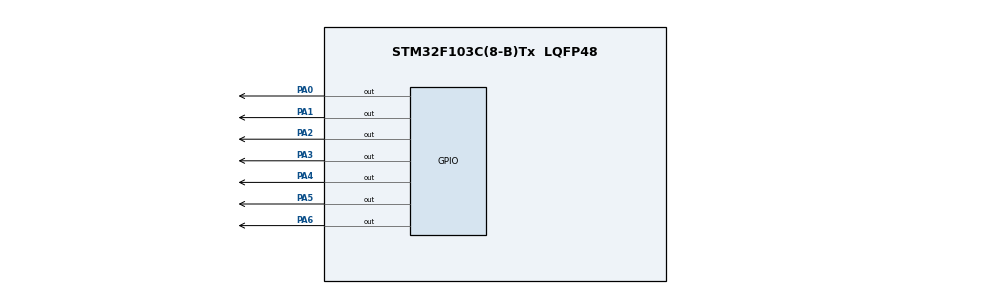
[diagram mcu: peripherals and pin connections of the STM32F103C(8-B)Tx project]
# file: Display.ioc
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Mcu.Family=STM32F1
Mcu.Name=STM32F103C(8-B)Tx
Mcu.Package=LQFP48
NVIC.PriorityGroup=NVIC_PRIORITYGROUP_4
PA0-WKUP.Signal=GPIO_Output
PA1.Signal=GPIO_Output
PA13.Mode=Serial_Wire
PA13.Signal=SYS_JTMS-SWDIO
PA14.Mode=Serial_Wire
PA14.Signal=SYS_JTCK-SWCLK
PA2.Signal=GPIO_Output
PA3.Signal=GPIO_Output
PA4.Signal=GPIO_Output
PA5.Signal=GPIO_Output
PA6.Signal=GPIO_Output
ProjectManager.HeapSize=0x200
ProjectManager.StackSize=0x400
ProjectManager.TargetToolchain=MDK-ARM V5.32
RCC.APB1Freq_Value=8000000
RCC.APB2Freq_Value=8000000
board=custom

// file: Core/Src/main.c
/* USER CODE BEGIN Header */
/**
  ******************************************************************************
  * @file           : main.c
  * @brief          : Main program body
  ******************************************************************************
  * @attention
  *
  * Copyright (c) 2024 STMicroelectronics.
  * All rights reserved.
  *
  * This software is licensed under terms that can be found in the LICENSE file
  * in the root directory of this software component.
  * If no LICENSE file comes with this software, it is provided AS-IS.
  *
  ******************************************************************************
  */
/* USER CODE END Header */
#include "main.h"

void SystemClock_Config(void);
static void MX_GPIO_Init(void);

/* USER CODE BEGIN 0 */
 void portb_yaz(int s){
	switch (s){
		case 0:
			GPIOA->ODR=0x3F;
		break;
		case 1:
			GPIOA->ODR=0x06;
		break;
		case 2:
			GPIOA->ODR=0x5B;
		break;
		case 3:
			GPIOA->ODR=0x4B;
		break;
		case 4:
			GPIOA->ODR=0x6C;
		break;
		case 5:
			GPIOA->ODR=0x6D;
		break;
		case 6:
			GPIOA->ODR=0x7D;
		break;
		case 7:
			GPIOA->ODR=0x07;
		break;
		case 8:
			GPIOA->ODR=0x7F;
		break;
		case 9:
			GPIOA->ODR=0x6F;
		break;

	}
}
/* USER CODE END 0 */

int main(void)
{

  /* MCU Configuration--------------------------------------------------------*/

  /* Reset of all peripherals, Initializes the Flash interface and the Systick. */
  HAL_Init();

  /* Configure the system clock */
  SystemClock_Config();

  /* Initialize all configured peripherals */
  MX_GPIO_Init();

  /* Infinite loop */
  /* USER CODE BEGIN WHILE */
  while (1)
  {
		portb_yaz(2);
		HAL_Delay(1000);

		portb_yaz(9);
		HAL_Delay(1000);
    /* USER CODE END WHILE */

  }
}

void SystemClock_Config(void)
{
  RCC_OscInitTypeDef RCC_OscInitStruct = {0};
  RCC_ClkInitTypeDef RCC_ClkInitStruct = {0};

  /** Initializes the RCC Oscillators according to the specified parameters
  * in the RCC_OscInitTypeDef structure.
  */
  RCC_OscInitStruct.OscillatorType = RCC_OSCILLATORTYPE_HSI;
  RCC_OscInitStruct.HSIState = RCC_HSI_ON;
  RCC_OscInitStruct.HSICalibrationValue = RCC_HSICALIBRATION_DEFAULT;
  RCC_OscInitStruct.PLL.PLLState = RCC_PLL_NONE;
  if (HAL_RCC_OscConfig(&RCC_OscInitStruct) != HAL_OK)
  {
    Error_Handler();
  }

  /** Initializes the CPU, AHB and APB buses clocks
  */
  RCC_ClkInitStruct.ClockType = RCC_CLOCKTYPE_HCLK|RCC_CLOCKTYPE_SYSCLK
                              |RCC_CLOCKTYPE_PCLK1|RCC_CLOCKTYPE_PCLK2;
  RCC_ClkInitStruct.SYSCLKSource = RCC_SYSCLKSOURCE_HSI;
  RCC_ClkInitStruct.AHBCLKDivider = RCC_SYSCLK_DIV1;
  RCC_ClkInitStruct.APB1CLKDivider = RCC_HCLK_DIV1;
  RCC_ClkInitStruct.APB2CLKDivider = RCC_HCLK_DIV1;

  if (HAL_RCC_ClockConfig(&RCC_ClkInitStruct, FLASH_LATENCY_0) != HAL_OK)
  {
    Error_Handler();
  }
}

static void MX_GPIO_Init(void)
{
  GPIO_InitTypeDef GPIO_InitStruct = {0};

  /* GPIO Ports Clock Enable */
  __HAL_RCC_GPIOA_CLK_ENABLE();

  /*Configure GPIO pin Output Level */
  HAL_GPIO_WritePin(GPIOA, GPIO_PIN_0|GPIO_PIN_1|GPIO_PIN_2|GPIO_PIN_3
                          |GPIO_PIN_4|GPIO_PIN_5|GPIO_PIN_6, GPIO_PIN_RESET);

  /*Configure GPIO pins : PA0 PA1 PA2 PA3
                           PA4 PA5 PA6 */
  GPIO_InitStruct.Pin = GPIO_PIN_0|GPIO_PIN_1|GPIO_PIN_2|GPIO_PIN_3
                          |GPIO_PIN_4|GPIO_PIN_5|GPIO_PIN_6;
  GPIO_InitStruct.Mode = GPIO_MODE_OUTPUT_PP;
  GPIO_InitStruct.Pull = GPIO_NOPULL;
  GPIO_InitStruct.Speed = GPIO_SPEED_FREQ_LOW;
  HAL_GPIO_Init(GPIOA, &GPIO_InitStruct);

}

void Error_Handler(void)
{
  __disable_irq();
  while (1)
  {
  }
}
